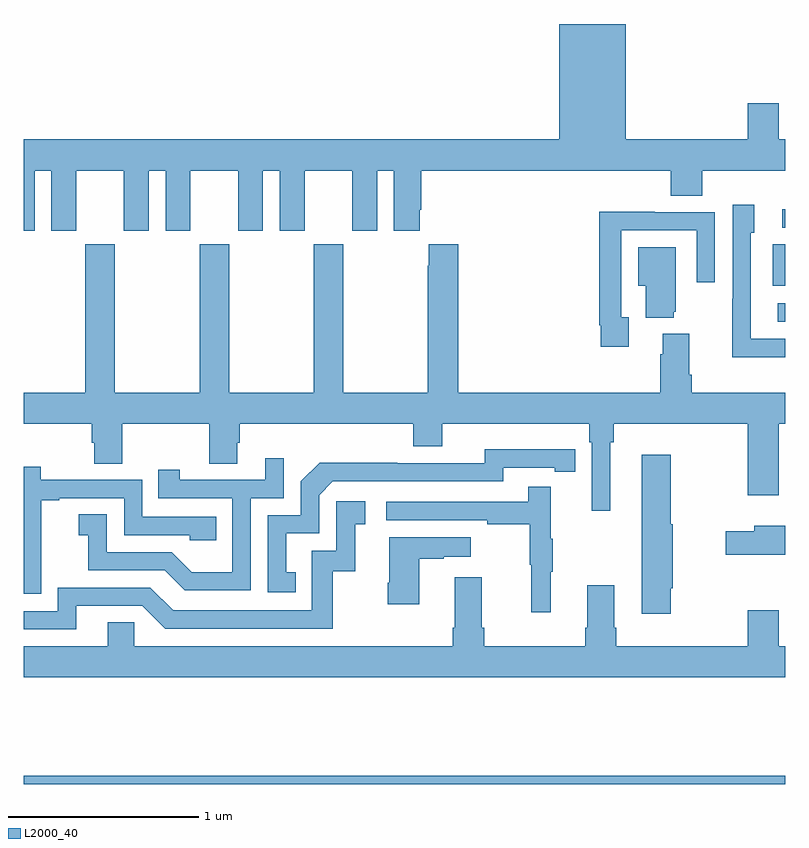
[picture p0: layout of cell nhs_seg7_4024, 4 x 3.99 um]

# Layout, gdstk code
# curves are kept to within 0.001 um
import gdstk
lib = gdstk.Library(unit=1e-6, precision=1e-09)
def R(c, l, rs):  # rectangles x0, y0, x1, y1
    for r in rs: c.add(gdstk.rectangle(r[:2], r[2:], *l))
def P(c, l, *ps):  # polygons
    for p in ps: c.add(gdstk.Polygon(p, *l))
L2000_40 = (2000, 40)

nhs_seg7_4024 = lib.new_cell('nhs_seg7_4024')
R(nhs_seg7_4024, L2000_40, [(365,1056,369,1056.044), (368.961,1058.43,369,1058.526), (368.936,1058.618,369,1058.837), (368.985,1058.922,369,1059.02)])
P(nhs_seg7_4024, L2000_40, [(365.056,1059.224),(365.144,1059.224),(365.144,1058.907),(365.275,1058.907),(365.275,1059.224),(365.525,1059.224),(365.525,1058.907),(365.656,1058.907),(365.656,1059.224),(365.744,1059.224),(365.744,1058.907),(365.875,1058.907),(365.875,1059.224),(366.125,1059.224),(366.125,1058.907),(366.256,1058.907),(366.256,1059.224),(366.344,1059.224),(366.344,1058.907),(366.475,1058.907),(366.475,1059.224),(366.725,1059.224),(366.725,1058.907),(366.856,1058.907),(366.856,1059.224),(366.944,1059.224),(366.944,1058.907),(367.081,1058.907),(367.081,1059.019),(367.088,1059.019),(367.088,1059.224),(368.399,1059.224),(368.399,1059.091),(368.564,1059.091),(368.564,1059.224),(369,1059.224),(369,1059.388),(368.968,1059.388),(368.968,1059.577),(368.804,1059.577),(368.804,1059.388),(368.164,1059.388),(368.164,1059.994),(367.814,1059.994),(367.814,1059.388),(365,1059.388),(365,1058.907),(365.056,1058.907)],
  [(369,1058.34),(368.82,1058.34),(368.82,1058.898),(368.839,1058.898),(368.839,1059.043),(368.724,1059.043),(368.724,1058.549),(368.722,1058.549),(368.722,1058.243),(369,1058.243)],
  [(368.179,1058.454),(368.139,1058.454),(368.139,1058.91),(368.535,1058.91),(368.535,1058.637),(368.631,1058.637),(368.631,1059.006),(368.315,1059.006),(368.315,1059.008),(368.023,1059.008),(368.023,1058.41),(368.031,1058.41),(368.031,1058.298),(368.179,1058.298)],
  [(368.08,1057.796),(368.099,1057.796),(368.099,1057.892),(368.804,1057.892),(368.804,1057.518),(368.968,1057.518),(368.968,1057.892),(369,1057.892),(369,1058.056),(368.51,1058.056),(368.51,1058.152),(368.497,1058.152),(368.497,1058.365),(368.357,1058.365),(368.357,1058.258),(368.345,1058.258),(368.345,1058.056),(367.283,1058.056),(367.283,1058.836),(367.127,1058.836),(367.127,1058.723),(367.123,1058.723),(367.123,1058.056),(366.678,1058.056),(366.678,1058.836),(366.523,1058.836),(366.523,1058.056),(366.078,1058.056),(366.078,1058.836),(365.923,1058.836),(365.923,1058.056),(365.478,1058.056),(365.478,1058.836),(365.323,1058.836),(365.323,1058.056),(365,1058.056),(365,1057.892),(365.357,1057.892),(365.357,1057.794),(365.369,1057.794),(365.369,1057.684),(365.517,1057.684),(365.517,1057.892),(365.974,1057.892),(365.974,1057.684),(366.121,1057.684),(366.121,1057.794),(366.134,1057.794),(366.134,1057.892),(367.046,1057.892),(367.046,1057.775),(367.198,1057.775),(367.198,1057.892),(367.97,1057.892),(367.97,1057.796),(367.983,1057.796),(367.983,1057.437),(368.08,1057.437)],
  [(368.414,1058.481),(368.425,1058.481),(368.425,1058.821),(368.228,1058.821),(368.228,1058.618),(368.267,1058.618),(368.267,1058.45),(368.414,1058.45)],
  [(366.428,1057.113),(366.379,1057.113),(366.379,1057.317),(366.552,1057.317),(366.552,1057.518),(366.624,1057.59),(367.518,1057.59),(367.518,1057.662),(367.79,1057.662),(367.79,1057.642),(367.898,1057.642),(367.898,1057.758),(367.422,1057.759),(367.422,1057.686),(366.962,1057.686),(366.962,1057.688),(366.554,1057.688),(366.456,1057.59),(366.456,1057.413),(366.282,1057.413),(366.282,1057.008),(366.428,1057.008)],
  [(368.4,1057.029),(368.41,1057.029),(368.41,1057.365),(368.4,1057.365),(368.4,1057.729),(368.246,1057.729),(368.246,1056.894),(368.4,1056.894)],
  [(366.192,1057.503),(366.366,1057.503),(366.366,1057.711),(366.269,1057.711),(366.269,1057.599),(365.818,1057.599),(365.818,1057.651),(365.707,1057.651),(365.707,1057.503),(366.096,1057.503),(366.096,1057.114),(365.882,1057.114),(365.778,1057.218),(365.436,1057.218),(365.436,1057.417),(365.289,1057.417),(365.289,1057.307),(365.338,1057.307),(365.338,1057.122),(365.741,1057.122),(365.846,1057.017),(366.192,1057.017)],
  [(365.091,1057.207),(365.09,1057.207),(365.09,1057.491),(365.185,1057.491),(365.185,1057.503),(365.526,1057.503),(365.526,1057.308),(365.871,1057.308),(365.871,1057.281),(366.011,1057.281),(366.011,1057.404),(365.622,1057.404),(365.622,1057.599),(365.088,1057.599),(365.088,1057.668),(365,1057.668),(365,1057.001),(365.091,1057.001)],
  [(367.769,1057.115),(367.78,1057.115),(367.78,1057.289),(367.769,1057.289),(367.769,1057.561),(367.651,1057.561),(367.651,1057.482),(366.903,1057.482),(366.903,1057.386),(367.435,1057.386),(367.435,1057.366),(367.659,1057.366),(367.659,1057.152),(367.666,1057.152),(367.666,1056.903),(367.769,1056.903)],
  [(365.275,1056.936),(365.622,1056.936),(365.742,1056.816),(366.622,1056.816),(366.622,1057.119),(366.74,1057.119),(366.74,1057.365),(366.793,1057.365),(366.793,1057.486),(366.642,1057.486),(366.642,1057.227),(366.513,1057.227),(366.513,1056.912),(365.784,1056.912),(365.664,1057.032),(365.178,1057.032),(365.178,1056.909),(365,1056.909),(365,1056.813),(365.275,1056.813)],
  [(369,1057.357),(368.837,1057.357),(368.837,1057.327),(368.688,1057.327),(368.688,1057.205),(369,1057.205)],
  [(367.078,1057.183),(367.205,1057.183),(367.205,1057.193),(367.348,1057.193),(367.348,1057.297),(366.92,1057.297),(366.92,1057.057),(366.913,1057.057),(366.913,1056.945),(367.078,1056.945)],
  [(369,1056.724),(368.968,1056.724),(368.968,1056.913),(368.804,1056.913),(368.804,1056.724),(368.114,1056.724),(368.114,1056.82),(368.101,1056.82),(368.101,1057.045),(367.961,1057.045),(367.961,1056.82),(367.949,1056.82),(367.949,1056.724),(367.418,1056.724),(367.418,1056.82),(367.405,1056.82),(367.405,1057.087),(367.265,1057.087),(367.265,1056.82),(367.253,1056.82),(367.253,1056.724),(365.58,1056.724),(365.58,1056.851),(365.441,1056.851),(365.441,1056.724),(365,1056.724),(365,1056.56),(369,1056.56)])

lib.write_gds('nhs_seg7_4024.gds')
